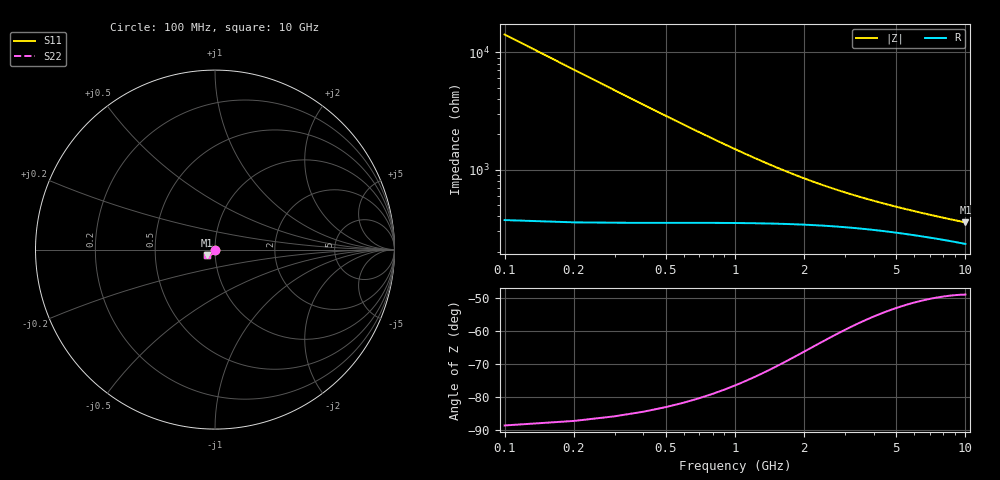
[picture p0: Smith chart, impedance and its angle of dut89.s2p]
! Touchstone file exported from HFSS 2024.1.0
!  File:  C:/UserFiles/LocalFiles/RDL_TSV_Batchsim/temp_TSV1_89_1778751545.aedt
!  Generated:  05:42:58 PM May 14, 2026
!  Design:  TSV1
!  Project:  temp_TSV1_89_1778751545
!  Setup:  Setup1
!  Solution:  Sweep
! Variables:
!  dtsv = 17.49um
!  hbump = 3um
!  htsv = 52.33um
!  lrdl = 252.1521522um
!  p = 40
!  p1 = 47.12um
!  t = 500um
!  trdl = 3um
!  wrdl = 24.89489489um
# GHz S MA R 50.000000
! Terminal data exported
! Port[1] = TSV22_T1
! Port[2] = TSV22_T2
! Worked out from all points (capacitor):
!   100 points, 100 MHz to 10 GHz, reference 50 ohm
!   read as one part in shunt: C = 112 fF near 100 MHz
!   lowest |Z| = 355 ohm at 10 GHz (marker M1)
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0.1  0.001539 -89.3  0.9999 -0.1  0.9999 -0.1  0.001539 -89.3
! Gamma 0 0 0 0
! Port Impedance 50 0 50 0
0.2  0.003072 -92.2  0.9997 -0.2  0.9997 -0.2  0.003072 -92.2
0.3  0.004594 -94.2  0.9995 -0.3  0.9995 -0.3  0.004594 -94.2
0.4  0.006102 -96.0  0.9992 -0.4  0.9992 -0.4  0.006102 -96.0
0.5  0.00759 -97.8  0.9988 -0.6  0.9988 -0.6  0.00759 -97.8
0.6  0.009055 -99.5  0.9983 -0.7  0.9983 -0.7  0.009055 -99.5
0.7  0.01049 -101.1  0.9978 -0.8  0.9978 -0.8  0.01049 -101.1
0.8  0.0119 -102.7  0.9972 -0.9  0.9972 -0.9  0.0119 -102.7
0.9  0.01327 -104.2  0.9965 -1.0  0.9965 -1.0  0.01327 -104.2
1.1  0.01591 -107.2  0.995 -1.1  0.995 -1.1  0.01591 -107.2
1.4  0.01957 -111.3  0.9926 -1.4  0.9926 -1.4  0.01957 -111.3
1.6  0.02181 -113.8  0.9909 -1.5  0.9909 -1.5  0.02181 -113.8
1.8  0.02389 -116.1  0.9892 -1.6  0.9892 -1.6  0.02389 -116.1
2.1  0.02672 -119.2  0.9867 -1.8  0.9867 -1.8  0.02672 -119.2
2.5  0.03002 -122.9  0.9836 -2.0  0.9836 -2.0  0.03002 -122.9
2.9  0.03286 -126.0  0.9806 -2.2  0.9806 -2.2  0.03286 -126.0
3.4  0.03589 -129.2  0.9773 -2.4  0.9773 -2.4  0.03589 -129.2
4.2  0.03986 -133.2  0.9727 -2.6  0.9727 -2.6  0.03986 -133.2
5.1  0.04343 -136.6  0.9685 -2.9  0.9685 -2.9  0.04343 -136.6
6.7  0.04834 -140.8  0.9625 -3.3  0.9625 -3.3  0.04834 -140.8
8.4  0.05222 -144.0  0.9579 -3.6  0.9579 -3.6  0.05222 -144.0
10  0.05499 -146.2  0.9546 -4.0  0.9546 -4.0  0.05499 -146.2
